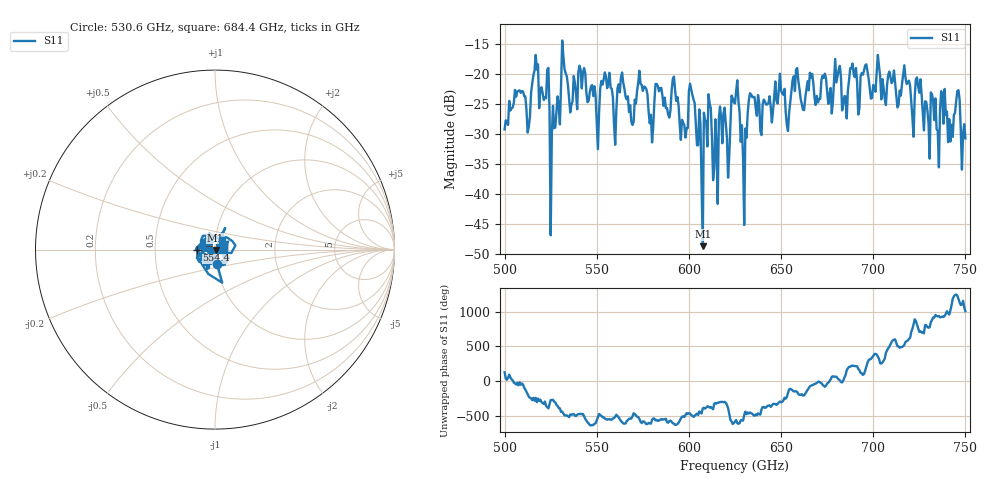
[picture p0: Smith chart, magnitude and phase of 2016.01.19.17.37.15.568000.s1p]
!Created with skrf (http://scikit-rf.org).
# GHz S RI R 50.0
!freq ReS11 ImS11
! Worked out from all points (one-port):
!   401 points, 500 GHz to 750 GHz, reference 50 ohm
!   lowest |S11| = -48.7 dB at 607.5 GHz (marker M1), VSWR 1.01, Z = 50.3 - j0.197 ohm
!   |S11| at or under -10 dB: start of sweep to end of sweep
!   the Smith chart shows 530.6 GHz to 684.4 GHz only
!   S11 on the Smith chart (normalised r, x): 530.6 GHz: 1.01, -0.16; 554.4 GHz: 0.81, -0.01; 684.4 GHz: 1.07, +0.11
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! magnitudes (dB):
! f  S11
! 500 GHz  -29.3
! 513.1 GHz  -28.8
! 516.9 GHz  -16.9
! 523.1 GHz  -19.3
! 526.2 GHz  -25.4
! 530.6 GHz  -22.0
! 531.2 GHz  -14.5
! 550.6 GHz  -32.6
! 554.4 GHz  -19.8
! 559.4 GHz  -28.5
! 562.5 GHz  -23.1
! 593.8 GHz  -23.9
! 598.1 GHz  -30.6
! 601.2 GHz  -22.6
! 607.5 GHz  -48.7
! 610.6 GHz  -23.4
! 614.4 GHz  -27.6
! 618.1 GHz  -31.6
! 621.2 GHz  -37.3
! 625 GHz  -24.9
! 629.4 GHz  -34.0
! 633.8 GHz  -23.5
! 656.2 GHz  -21.1
! 680.6 GHz  -20.4
! 684.4 GHz  -23.7
! 687.5 GHz  -19.1
! 718.8 GHz  -21.4
! 750 GHz  -30.8
